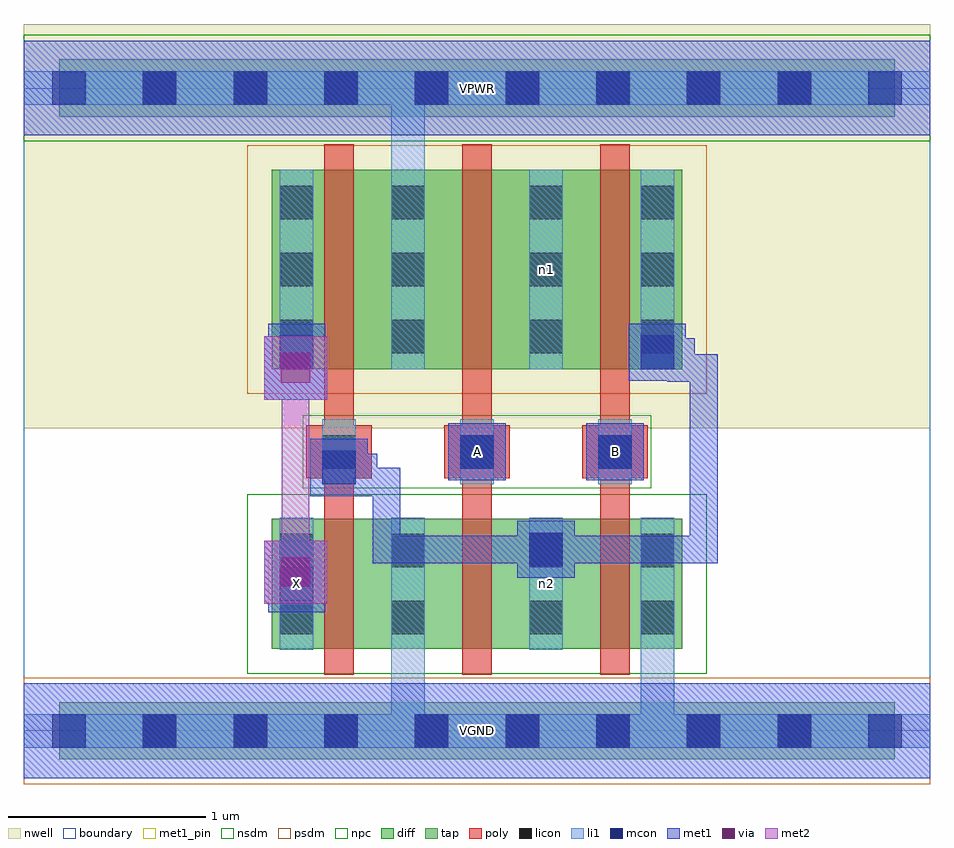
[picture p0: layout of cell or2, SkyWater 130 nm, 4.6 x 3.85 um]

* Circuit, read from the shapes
.subckt or2 A B VGND VPWR X n1 n2
XM1 VGND n2 X VGND sky130_fd_pr__nfet_01v8 w=0.66 l=0.15
XM2 n2 A VGND VGND sky130_fd_pr__nfet_01v8 w=0.66 l=0.15
XM3 VGND B n2 VGND sky130_fd_pr__nfet_01v8 w=0.66 l=0.15
XM4 VPWR n2 X VPWR sky130_fd_pr__pfet_01v8 w=1.01 l=0.15
XM5 n1 A VPWR VPWR sky130_fd_pr__pfet_01v8 w=1.01 l=0.15
XM6 n2 B n1 VPWR sky130_fd_pr__pfet_01v8 w=1.01 l=0.15
.ends

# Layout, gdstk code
import gdstk
lib = gdstk.Library(unit=1e-6, precision=1e-09)
def R(c, l, rs):  # rectangles x0, y0, x1, y1
    for r in rs: c.add(gdstk.rectangle(r[:2], r[2:], *l))
def A(c, l, x, y, w, h, nx, ny, dx, dy):  # array of equal rectangles
    R(c, l, [(x+i*dx, y+j*dy, x+i*dx+w, y+j*dy+h) for i in range(nx) for j in range(ny)])
nwell = (64, 20)
diff = (65, 20)
tap = (65, 44)
poly = (66, 20)
licon = (66, 44)
li1 = (67, 20)
mcon = (67, 44)
met1_pin = (68, 16)
met1 = (68, 20)
via = (68, 44)
met2 = (69, 20)
nsdm = (93, 44)
psdm = (94, 20)
npc = (95, 20)
boundary = (235, 4)

or2 = lib.new_cell('or2')
R(or2, nwell, [(0,1.535,4.6,3.585)])
R(or2, diff, [(1.26,0.415,3.34,1.075), (1.26,1.835,3.34,2.845)])
R(or2, tap, [(0.18,-0.145,4.42,0.145), (0.18,3.115,4.42,3.405)])
A(or2, poly, 1.525, 0.285, 0.15, 2.69, 3, 1, 0.7, 0)
A(or2, poly, 1.435, 1.28, 0.33, 0.27, 3, 1, 0.7, 0)
A(or2, licon, 0.605, -0.085, 0.17, 0.17, 8, 2, 0.46, 3.26)
A(or2, licon, 1.515, 1.33, 0.17, 0.17, 3, 1, 0.7, 0)
A(or2, licon, 1.3, 1.915, 0.17, 0.17, 1, 3, 0, 0.34)
A(or2, licon, 1.865, 1.915, 0.17, 0.17, 1, 3, 0, 0.34)
A(or2, licon, 2.565, 1.915, 0.17, 0.17, 1, 3, 0, 0.34)
A(or2, licon, 3.13, 1.915, 0.17, 0.17, 1, 3, 0, 0.34)
R(or2, licon, [(1.3,0.49,1.47,0.66), (1.865,0.49,2.035,0.66), (2.565,0.49,2.735,0.66), (3.13,0.49,3.3,0.66), (1.3,0.83,1.47,1), (1.865,0.83,2.035,1), (2.565,0.83,2.735,1), (3.13,0.83,3.3,1)])
A(or2, li1, 1.515, 1.25, 0.17, 0.33, 3, 1, 0.7, 0)
R(or2, li1, [(0,-0.085,4.6,0.085), (1.865,-0.085,2.035,1.08), (3.13,-0.085,3.3,1.08), (1.3,0.41,1.47,1.08), (1.865,0.41,2.035,1.08), (2.565,0.41,2.735,1.08), (3.13,0.41,3.3,1.08), (1.3,1.835,1.47,2.845), (1.865,1.835,2.035,2.845), (1.865,1.835,2.035,3.345), (2.565,1.835,2.735,2.845), (3.13,1.835,3.3,2.845), (0,3.175,4.6,3.345)])
A(or2, mcon, 0.145, -0.085, 0.17, 0.17, 10, 2, 0.46, 3.26)
R(or2, mcon, [(1.3,0.66,1.47,0.83), (2.565,0.835,2.735,1.005), (1.515,1.25,1.685,1.42), (2.215,1.33,2.385,1.5), (2.915,1.33,3.085,1.5), (1.3,1.835,1.47,2.005), (3.13,1.835,3.3,2.005)])
R(or2, met1_pin, [(0,-0.24,4.6,0.24), (1.24,0.6,1.53,0.89), (2.155,1.27,2.445,1.56), (2.855,1.27,3.145,1.56), (0,3.02,4.6,3.5)])
R(or2, met1, [(0,-0.24,4.6,0.24), (1.24,0.6,1.53,0.89), (1.22,0.645,1.54,0.965), (1.31,0.735,1.45,0.875), (2.505,0.775,2.795,1.065), (1.77,0.85,1.91,1.335), (1.77,0.85,2.6,0.99), (2.46,0.85,2.72,0.99), (2.46,0.85,3.52,0.99), (3.38,0.85,3.52,1.91), (1.455,1.19,1.745,1.48), (1.745,1.19,1.77,1.335), (1.655,1.195,1.795,1.405), (1.655,1.195,1.91,1.335), (1.53,1.265,1.795,1.405), (2.155,1.27,2.445,1.56), (2.855,1.27,3.145,1.56), (1.22,1.68,1.54,2), (1.31,1.77,1.45,1.99), (3.265,1.77,3.405,1.99), (3.265,1.77,3.52,1.91), (1.24,1.775,1.53,2.065), (3.07,1.775,3.36,2.065), (1.31,1.85,1.455,1.99), (3.145,1.85,3.405,1.99), (0,3.02,4.6,3.5)])
R(or2, via, [(1.305,0.73,1.455,0.88), (1.305,1.765,1.455,1.915)])
R(or2, met2, [(1.22,0.645,1.54,0.965), (1.31,0.735,1.45,1.91), (1.22,1.68,1.54,2)])
R(or2, nsdm, [(1.135,0.29,3.465,1.2), (0,2.99,4.6,3.53)])
R(or2, psdm, [(0,-0.27,4.6,0.27), (1.135,1.71,3.465,2.97)])
R(or2, npc, [(1.415,1.23,3.185,1.6)])
R(or2, boundary, [(0,0,4.6,3.26)])
or2.add(gdstk.Label('n2', (2.65,0.745), layer=67, texttype=5))
or2.add(gdstk.Label('n1', (2.65,2.34), layer=67, texttype=5))
or2.add(gdstk.Label('A', (2.3,1.415), layer=68, texttype=5))
or2.add(gdstk.Label('B', (3,1.415), layer=68, texttype=5))
or2.add(gdstk.Label('X', (1.385,0.745), layer=68, texttype=5))
or2.add(gdstk.Label('VPWR', (2.3,3.26), layer=68, texttype=5))
or2.add(gdstk.Label('VGND', (2.3,0), layer=68, texttype=5))
or2.add(gdstk.Label('A', (2.3,1.415), layer=68, texttype=16))
or2.add(gdstk.Label('B', (3,1.415), layer=68, texttype=16))
or2.add(gdstk.Label('X', (1.385,0.745), layer=68, texttype=16))
or2.add(gdstk.Label('VPWR', (2.3,3.26), layer=68, texttype=16))
or2.add(gdstk.Label('VGND', (2.3,0), layer=68, texttype=16))

lib.write_gds('or2.gds')
